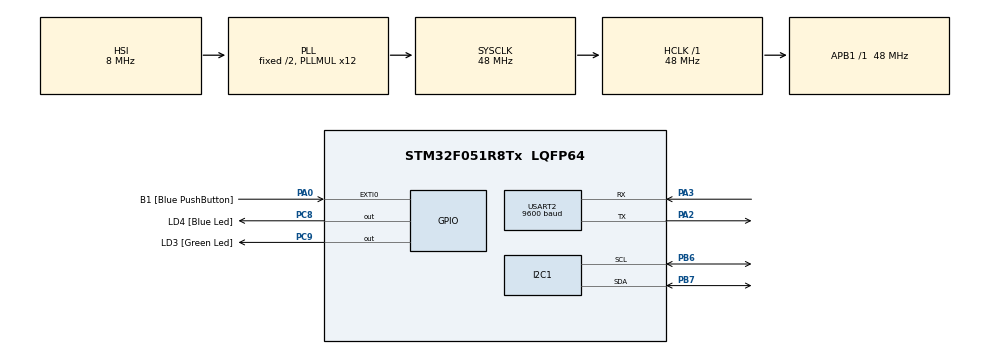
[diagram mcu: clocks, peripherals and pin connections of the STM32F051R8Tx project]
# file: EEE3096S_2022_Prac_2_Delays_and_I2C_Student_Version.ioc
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Dma.Request0=USART2_TX
Dma.USART2_TX.0.Direction=DMA_MEMORY_TO_PERIPH
Dma.USART2_TX.0.Instance=DMA1_Channel4
Dma.USART2_TX.0.MemDataAlignment=DMA_MDATAALIGN_BYTE
Dma.USART2_TX.0.MemInc=DMA_MINC_ENABLE
Dma.USART2_TX.0.Mode=DMA_NORMAL
Dma.USART2_TX.0.PeriphDataAlignment=DMA_PDATAALIGN_BYTE
Dma.USART2_TX.0.PeriphInc=DMA_PINC_DISABLE
Dma.USART2_TX.0.Priority=DMA_PRIORITY_LOW
Mcu.Family=STM32F0
Mcu.Name=STM32F051R8Tx
Mcu.Package=LQFP64
NVIC.DMA1_Channel4_5_IRQn=true\:0\:0\:false\:false\:true\:false\:true\:true
NVIC.USART2_IRQn=true\:0\:0\:false\:false\:true\:true\:true\:true
PA0.GPIO_Label=B1 [Blue PushButton]
PA0.GPIO_ModeDefaultEXTI=GPIO_MODE_EVT_RISING
PA0.Signal=GPXTI0
PA13.GPIO_Label=SWDIO
PA13.Mode=Serial_Wire
PA13.Signal=SYS_SWDIO
PA14.GPIO_Label=SWCLK
PA14.Mode=Serial_Wire
PA14.Signal=SYS_SWCLK
PA2.Mode=Asynchronous
PA2.Signal=USART2_TX
PA3.Mode=Asynchronous
PA3.Signal=USART2_RX
PB6.Mode=I2C
PB6.Signal=I2C1_SCL
PB7.Mode=I2C
PB7.Signal=I2C1_SDA
PC8.GPIO_Label=LD4 [Blue Led]
PC8.Signal=GPIO_Output
PC9.GPIO_Label=LD3 [Green Led]
PC9.Signal=GPIO_Output
PF0-OSC_IN.Mode=HSE-External-Oscillator
PF0-OSC_IN.Signal=RCC_OSC_IN
PF1-OSC_OUT.Mode=HSE-External-Oscillator
PF1-OSC_OUT.Signal=RCC_OSC_OUT
ProjectManager.HeapSize=0x200
ProjectManager.StackSize=0x400
ProjectManager.TargetToolchain=STM32CubeIDE
RCC.AHBFreq_Value=48000000
RCC.APB1Freq_Value=48000000
RCC.APB1TimFreq_Value=48000000
RCC.HCLKFreq_Value=48000000
RCC.PLLMUL=RCC_PLL_MUL12
RCC.SYSCLKFreq_VALUE=48000000
RCC.SYSCLKSource=RCC_SYSCLKSOURCE_PLLCLK
USART2.BaudRate=9600
USART2.VirtualMode-Asynchronous=VM_ASYNC
board=STM32F0DISCOVERY

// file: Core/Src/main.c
/* USER CODE BEGIN Header */
/**
*************************************
Info:		STM32 I2C with DS3231 HAL
Author:		Amaan Vally
*************************************
In this practical you will learn to use I2C on the STM32 using the HAL. Here, we will
be interfacing with a DS3231 RTC. We also create functions to convert the data between Binary
Coded Decimal (BCD) and decimal.

Code is also provided to send data from the STM32 to other devices using UART protocol
by using HAL. You will need Putty or a Python script to read from the serial port on your PC.

UART Connections are as follows: red->5V black->GND white(TX)->PA2 green(RX;unused)->PA3.
Open device manager and go to Ports. Plug in the USB connector with the STM powered on. Check the port number (COMx).
Open up Putty and create a new Serial session on that COMx with baud rate of 9600.

https://www.youtube.com/watch?v=EEsI9MxndbU&list=PLfIJKC1ud8ghc4eFhI84z_3p3Ap2MCMV-&index=4

RTC Connections: (+)->5V (-)->GND D->PB7 (I2C1_SDA) C->PB6 (I2C1_SCL)
  ******************************************************************************
  */
/* USER CODE END Header */
#include "main.h"

/* USER CODE BEGIN Includes */
#include "stdio.h"
//#include "time.h"
/* USER CODE END Includes */

/* USER CODE BEGIN PTD */
typedef struct {
	uint8_t seconds;
	uint8_t minutes;
	uint8_t hour;
	uint8_t dayofweek;
	uint8_t dayofmonth;
	uint8_t month;
	uint8_t year;
} TIME;

/* USER CODE END PTD */

/* USER CODE BEGIN PD */
//TO DO:
//TASK 2
//Give DELAY1 and DELAY2 sensible values
#define DELAY1 3760
#define DELAY2 250

//TO DO:
//TASK 4
//Define the RTC slave address
#define DS3231_ADDRESS 0x0

#define EPOCH_2022 1640988000
/* USER CODE END PD */

I2C_HandleTypeDef hi2c1;

UART_HandleTypeDef huart2;
DMA_HandleTypeDef hdma_usart2_tx;

/* USER CODE BEGIN PV */
char buffer[14];
char buffer2[14];
char buffer3[14];
uint8_t data [] = "Hello from STM32!\r\n";
TIME time;
/* USER CODE END PV */

void SystemClock_Config(void);
static void MX_GPIO_Init(void);
static void MX_I2C1_Init(void);
static void MX_DMA_Init(void);
static void MX_USART2_UART_Init(void);
/* USER CODE BEGIN PFP */
void HAL_UART_TxCpltCllback(UART_HandleTypeDef *huart);
void pause_sec(float x);

uint8_t decToBcd(int val);
int bcdToDec(uint8_t val);
void setTime (uint8_t sec, uint8_t min, uint8_t hour, uint8_t dow, uint8_t dom, uint8_t month, uint8_t year);
void getTime (void);
int epochFromTime(TIME time);

/* USER CODE END PFP */

int main(void){

  /* USER CODE BEGIN 1 */
	int epoch;
  /* USER CODE END 1 */

  /* MCU Configuration--------------------------------------------------------*/

  /* Reset of all peripherals, Initializes the Flash interface and the Systick. */
  HAL_Init();

  /* Configure the system clock */
  SystemClock_Config();

  /* Initialize all configured peripherals */
  MX_GPIO_Init();
  MX_I2C1_Init();
  MX_DMA_Init();
  MX_USART2_UART_Init();

  /* USER CODE BEGIN 2 */

  //TO DO
  //TASK 6
  //YOUR CODE HERE

  setTime(0, 2, 3, 2, 4, 5, 1); //set time to random

  /* USER CODE END 2 */

  /* Infinite loop */
  while (1)
  {
	//TO DO:
	//TASK 1
	//First run this with nothing else in the loop and scope pin PC8 on an oscilloscope
	HAL_GPIO_TogglePin(GPIOC, GPIO_PIN_8);
	pause_sec(1);
	//uint8_t out = decToBcd(7); //testing BCDtoDec function
	//printf(out);
	//TO DO:
	//TASK 6
	getTime();
	epoch = epochFromTime(time);

	sprintf(buffer, "%02d:%02d:%02d\r\n", time.hour, time.minutes, time.seconds);
	HAL_UART_Transmit(&huart2, buffer, sizeof(buffer), 1000);//Transmit data via UART

	sprintf(buffer, "%02d-%02d-20%02d\r\n", time.dayofmonth, time.month,time.year);
	HAL_UART_Transmit(&huart2, buffer, sizeof(buffer), 1000);//Transmit data via UART

	sprintf(buffer, "%d\r\n", epoch);
	HAL_UART_Transmit(&huart2, buffer, sizeof(buffer), 1000);//Transmit data via UART

	//Blocking! fine for small buffers

	//getTime();

	//YOUR CODE HERE

  }
}

void SystemClock_Config(void)
{
  RCC_OscInitTypeDef RCC_OscInitStruct = {0};
  RCC_ClkInitTypeDef RCC_ClkInitStruct = {0};
  RCC_PeriphCLKInitTypeDef PeriphClkInit = {0};

  /** Initializes the RCC Oscillators according to the specified parameters
  * in the RCC_OscInitTypeDef structure.
  */
  RCC_OscInitStruct.OscillatorType = RCC_OSCILLATORTYPE_HSI;
  RCC_OscInitStruct.HSIState = RCC_HSI_ON;
  RCC_OscInitStruct.HSICalibrationValue = RCC_HSICALIBRATION_DEFAULT;
  RCC_OscInitStruct.PLL.PLLState = RCC_PLL_ON;
  RCC_OscInitStruct.PLL.PLLSource = RCC_PLLSOURCE_HSI;
  RCC_OscInitStruct.PLL.PLLMUL = RCC_PLL_MUL12;
  RCC_OscInitStruct.PLL.PREDIV = RCC_PREDIV_DIV1;
  if (HAL_RCC_OscConfig(&RCC_OscInitStruct) != HAL_OK)
  {
    //Error_Handler();
  }

  /** Initializes the CPU, AHB and APB buses clocks
  */
  RCC_ClkInitStruct.ClockType = RCC_CLOCKTYPE_HCLK|RCC_CLOCKTYPE_SYSCLK
                              |RCC_CLOCKTYPE_PCLK1;
  RCC_ClkInitStruct.SYSCLKSource = RCC_SYSCLKSOURCE_PLLCLK;
  RCC_ClkInitStruct.AHBCLKDivider = RCC_SYSCLK_DIV1;
  RCC_ClkInitStruct.APB1CLKDivider = RCC_HCLK_DIV1;

  if (HAL_RCC_ClockConfig(&RCC_ClkInitStruct, FLASH_LATENCY_1) != HAL_OK)
  {
    //Error_Handler();
  }
  PeriphClkInit.PeriphClockSelection = RCC_PERIPHCLK_I2C1;
  PeriphClkInit.I2c1ClockSelection = RCC_I2C1CLKSOURCE_HSI;
  if (HAL_RCCEx_PeriphCLKConfig(&PeriphClkInit) != HAL_OK)
  {
   // Error_Handler();
  }
}

static void MX_I2C1_Init(void)
{

  hi2c1.Instance = I2C1;
  hi2c1.Init.Timing = 0x2000090E;
  hi2c1.Init.OwnAddress1 = 0;
  hi2c1.Init.AddressingMode = I2C_ADDRESSINGMODE_7BIT;
  hi2c1.Init.DualAddressMode = I2C_DUALADDRESS_DISABLE;
  hi2c1.Init.OwnAddress2 = 0;
  hi2c1.Init.OwnAddress2Masks = I2C_OA2_NOMASK;
  hi2c1.Init.GeneralCallMode = I2C_GENERALCALL_DISABLE;
  hi2c1.Init.NoStretchMode = I2C_NOSTRETCH_DISABLE;
  if (HAL_I2C_Init(&hi2c1) != HAL_OK)
  {
    //Error_Handler();
  }

  /** Configure Analogue filter
  */
  if (HAL_I2CEx_ConfigAnalogFilter(&hi2c1, I2C_ANALOGFILTER_ENABLE) != HAL_OK)
  {
    //Error_Handler();
  }

  /** Configure Digital filter
  */
  if (HAL_I2CEx_ConfigDigitalFilter(&hi2c1, 0) != HAL_OK)
  {
   // Error_Handler();
  }

}

static void MX_USART2_UART_Init(void)
{

  huart2.Instance = USART2;
  huart2.Init.BaudRate = 9600;
  huart2.Init.WordLength = UART_WORDLENGTH_8B;
  huart2.Init.StopBits = UART_STOPBITS_1;
  huart2.Init.Parity = UART_PARITY_NONE;
  huart2.Init.Mode = UART_MODE_TX_RX;
  huart2.Init.HwFlowCtl = UART_HWCONTROL_NONE;
  huart2.Init.OverSampling = UART_OVERSAMPLING_16;
  huart2.Init.OneBitSampling = UART_ONE_BIT_SAMPLE_DISABLE;
  huart2.AdvancedInit.AdvFeatureInit = UART_ADVFEATURE_NO_INIT;
  if (HAL_UART_Init(&huart2) != HAL_OK)
  {
   // Error_Handler();
  }

}

static void MX_DMA_Init(void)
{

  /* DMA controller clock enable */
  __HAL_RCC_DMA1_CLK_ENABLE();

  /* DMA interrupt init */
  /* DMA1_Channel4_5_IRQn interrupt configuration */
  HAL_NVIC_SetPriority(DMA1_Channel4_5_IRQn, 0, 0);
  HAL_NVIC_EnableIRQ(DMA1_Channel4_5_IRQn);

}

static void MX_GPIO_Init(void)
{
  GPIO_InitTypeDef GPIO_InitStruct = {0};

  /* GPIO Ports Clock Enable */
  __HAL_RCC_GPIOF_CLK_ENABLE();
  __HAL_RCC_GPIOA_CLK_ENABLE();
  __HAL_RCC_GPIOC_CLK_ENABLE();
  __HAL_RCC_GPIOB_CLK_ENABLE();

  /*Configure GPIO pin Output Level */
  HAL_GPIO_WritePin(GPIOC, LD4_Pin|LD3_Pin, GPIO_PIN_RESET);

  /*Configure GPIO pin : B1_Pin */
  GPIO_InitStruct.Pin = B1_Pin;
  GPIO_InitStruct.Mode = GPIO_MODE_EVT_RISING;
  GPIO_InitStruct.Pull = GPIO_NOPULL;
  HAL_GPIO_Init(B1_GPIO_Port, &GPIO_InitStruct);

  /*Configure GPIO pins : LD4_Pin LD3_Pin */
  GPIO_InitStruct.Pin = LD4_Pin|LD3_Pin;
  GPIO_InitStruct.Mode = GPIO_MODE_OUTPUT_PP;
  GPIO_InitStruct.Pull = GPIO_NOPULL;
  GPIO_InitStruct.Speed = GPIO_SPEED_FREQ_LOW;
  HAL_GPIO_Init(GPIOC, &GPIO_InitStruct);

}

/* USER CODE BEGIN 4 */
void pause_sec(float x)
{
	/* Delay program execution for x seconds */
	//TO DO:
	//TASK 2
	for(int i=0; i<DELAY1;i++){
		for(int j=0; j<DELAY2;j++){
			for(int k=0;k<x;k++){
				//3 nested for loops
			}
		}
	}

	//YOUR CODE HERE
}

uint8_t decToBcd(int val)
{
    /* Convert normal decimal numbers to binary coded decimal*/
	//TO DO:
	//TASK 3

	//YOUR CODE HERE
	return (uint8_t)(((val/10)<<4)+(val%10));
}

int bcdToDec(uint8_t val)
{
    /* Convert binary coded decimal to normal decimal numbers */
	//TO DO:
	//TASK 3
	//Complete the BCD to decimal function

	//YOUR CODE HERE
	return (int)((val>>4)*10 +(val & 0x0F));

}

void setTime (uint8_t sec, uint8_t min, uint8_t hour, uint8_t dow, uint8_t dom, uint8_t month, uint8_t year)
{
    /* Write the time to the RTC using I2C */
	//TO DO:
	//TASK 4

	uint8_t set_time[7];

	//YOUR CODE HERE
	set_time[0]=decToBcd(sec);
	set_time[1]=decToBcd(min);
	set_time[2]=decToBcd(hour);
	set_time[3]=decToBcd(dow);
	set_time[4]=decToBcd(dom);
	set_time[5]=decToBcd(month);
	set_time[6]=decToBcd(year);
	//fill in the address of the RTC, the address of the first register to write anmd the size of each register
	//The function and RTC supports multiwrite. That means we can give the function a buffer and first address
	//and it will write 1 byte of data, increment the register address, write another byte and so on
	HAL_I2C_Mem_Write(&hi2c1, DS3231_ADDRESS, 0x00, 1, set_time, 7, 1000);

}

void getTime (void)
{
    /* Get the time from the RTC using I2C */
	//TO DO:
	//TASK 4
	//Update the global TIME time structure

	uint8_t get_time[7];

	//fill in the address of the RTC, the address of the first register to write anmd the size of each register
	//The function and RTC supports multiread. That means we can give the function a buffer and first address
	//and it will read 1 byte of data, increment the register address, write another byte and so on
	HAL_I2C_Mem_Read(&hi2c1, DS3231_ADDRESS, 0x00, 1, get_time, 7, 1000);

	//YOUR CODE HERE
	time.seconds = bcdToDec(get_time[0]);
	time.minutes = bcdToDec(get_time[1]);
	time.hour = bcdToDec(get_time[2]);
	time.dayofweek = bcdToDec(get_time[3]);
	time.dayofmonth = bcdToDec(get_time[4]);
	time.month = bcdToDec(get_time[5]);
	time.year = bcdToDec(get_time[6]);

}

int epochFromTime(TIME time){
    /* Convert time to UNIX epoch time */
	//TO DO:
	//TASK 5
	//You have been given the epoch time for Saturday, January 1, 2022 12:00:00 AM GMT+02:00
	//It is define above as EPOCH_2022. You can work from that and ignore the effects of leap years/seconds
	int day = time.dayofmonth;
	int months = time.month;
	//YOUR CODE HERE

	switch(months){
	case 2:
		day +=31;
	break;

	case 3:
		day += (31+28);
	break;

	case 4:
		day += (31*2+28);
	break;

	case 5:
		day+= (28+31*2+30);
	break;

	case 6:
		day+= (28+31*3+30);
	break;

	case 7:
		day+= (28+31*3+30*2);
	break;

	case 8:
		day+= (28+31*4+30*2);
	break;

	case 9:
		day+=(28+31*5+30*2);
	break;

	case 10:
		day+=(28+31*5+30*3);
	break;

	case 11:
		day+=(28+31*6+30*3);
	break;

	case 12:
		day+=(28+31*6+30*4);
	break;

	default:
		day = day;
	}

	return EPOCH_2022 + day*(86400); //epoch + number of seconds in a day*days
}

/* USER CODE END 4 */

void Error_Handler(void)
{
  __disable_irq();
  while (1)
  {
  }
}
